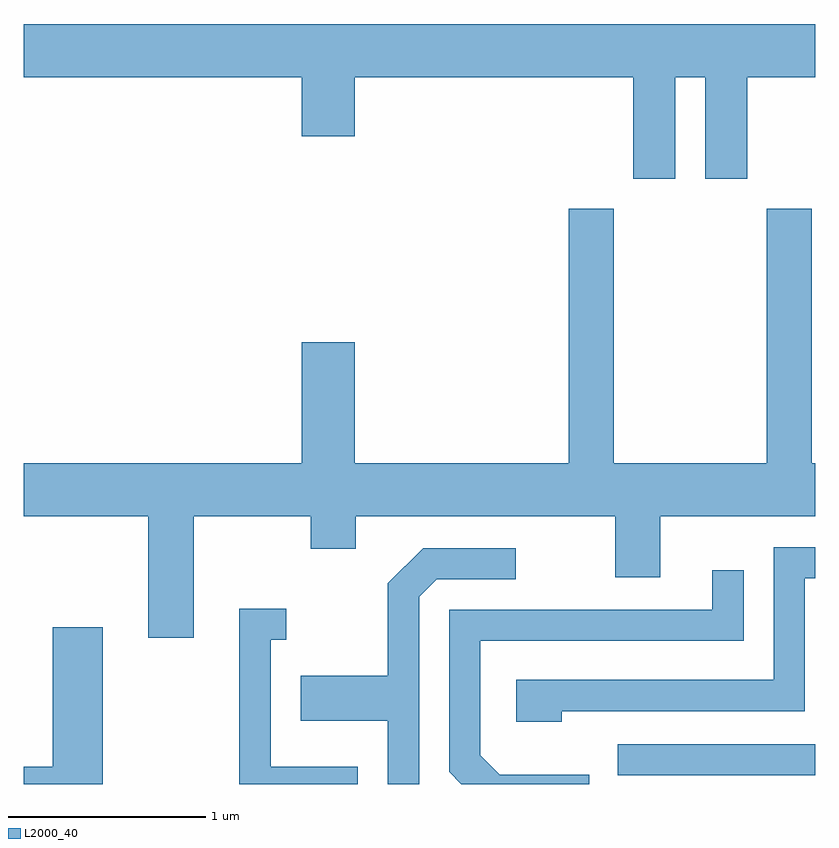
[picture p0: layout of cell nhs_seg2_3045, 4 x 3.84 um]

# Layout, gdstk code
import gdstk
lib = gdstk.Library(unit=1e-6, precision=1e-09)
def R(c, l, rs):  # rectangles x0, y0, x1, y1
    for r in rs: c.add(gdstk.rectangle(r[:2], r[2:], *l))
def P(c, l, *ps):  # polygons
    for p in ps: c.add(gdstk.Polygon(p, *l))
L2000_40 = (2000, 40)

nhs_seg2_3045 = lib.new_cell('nhs_seg2_3045')
R(nhs_seg2_3045, L2000_40, [(276.613,1095.846,277.611,1096.004)])
P(nhs_seg2_3045, L2000_40, [(276.904,1099.376),(277.056,1099.376),(277.056,1098.861),(277.269,1098.861),(277.269,1099.376),(277.611,1099.376),(277.611,1099.644),(273.611,1099.644),(273.611,1099.376),(275.016,1099.376),(275.016,1099.076),(275.284,1099.076),(275.284,1099.376),(276.691,1099.376),(276.691,1098.861),(276.904,1098.861)],
  [(274.469,1097.156),(275.061,1097.156),(275.061,1096.991),(275.289,1096.991),(275.289,1097.156),(276.601,1097.156),(276.601,1096.846),(276.829,1096.846),(276.829,1097.156),(277.611,1097.156),(277.611,1097.424),(277.594,1097.424),(277.594,1098.709),(277.366,1098.709),(277.366,1097.424),(276.594,1097.424),(276.594,1098.709),(276.366,1098.709),(276.366,1097.424),(275.284,1097.424),(275.284,1098.034),(275.016,1098.034),(275.016,1097.424),(273.611,1097.424),(273.611,1097.156),(274.241,1097.156),(274.241,1096.541),(274.469,1096.541)],
  [(276.329,1096.171),(277.559,1096.171),(277.559,1096.841),(277.611,1096.841),(277.611,1096.999),(277.401,1096.999),(277.401,1096.329),(276.101,1096.329),(276.101,1096.116),(276.329,1096.116)],
  [(275.609,1096.749),(275.697,1096.836),(276.098,1096.836),(276.098,1096.994),(275.629,1096.994),(275.451,1096.817),(275.451,1096.349),(275.011,1096.349),(275.011,1096.121),(275.451,1096.121),(275.451,1095.802),(275.609,1095.802)],
  [(276.469,1095.849),(276.017,1095.849),(275.919,1095.947),(275.919,1096.526),(277.249,1096.526),(277.249,1096.883),(277.091,1096.883),(277.091,1096.684),(275.761,1096.684),(275.761,1095.864),(275.823,1095.802),(276.469,1095.802)],
  [(275.299,1095.889),(274.859,1095.889),(274.859,1096.531),(274.938,1096.531),(274.938,1096.689),(274.701,1096.689),(274.701,1095.802),(275.299,1095.802)],
  [(274.009,1096.594),(273.756,1096.594),(273.756,1095.889),(273.611,1095.889),(273.611,1095.802),(274.009,1095.802)])

lib.write_gds('nhs_seg2_3045.gds')
